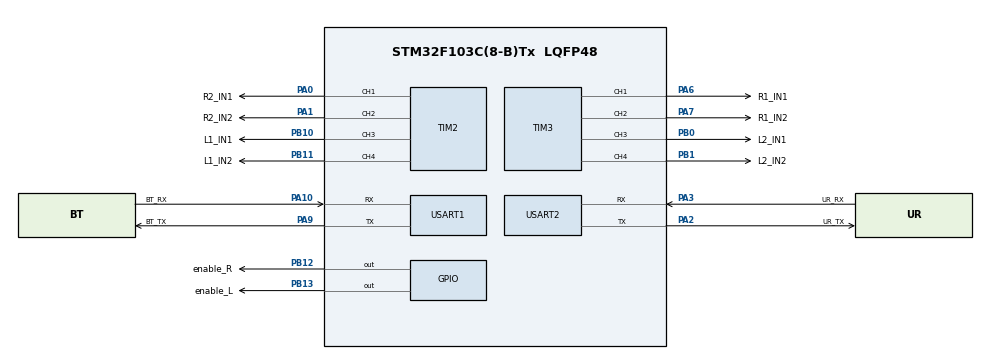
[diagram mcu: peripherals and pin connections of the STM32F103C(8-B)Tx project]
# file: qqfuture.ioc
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Mcu.Family=STM32F1
Mcu.Name=STM32F103C(8-B)Tx
Mcu.Package=LQFP48
NVIC.PriorityGroup=NVIC_PRIORITYGROUP_4
PA0-WKUP.GPIO_Label=R2_IN1
PA0-WKUP.Signal=S_TIM2_CH1_ETR
PA1.GPIO_Label=R2_IN2
PA1.Signal=S_TIM2_CH2
PA10.GPIO_Label=BT_RX
PA10.Mode=Asynchronous
PA10.Signal=USART1_RX
PA13.Mode=Serial_Wire
PA13.Signal=SYS_JTMS-SWDIO
PA14.Mode=Serial_Wire
PA14.Signal=SYS_JTCK-SWCLK
PA2.GPIO_Label=UR_TX
PA2.Mode=Asynchronous
PA2.Signal=USART2_TX
PA3.GPIO_Label=UR_RX
PA3.Mode=Asynchronous
PA3.Signal=USART2_RX
PA6.GPIO_Label=R1_IN1
PA6.Signal=S_TIM3_CH1
PA7.GPIO_Label=R1_IN2
PA7.Signal=S_TIM3_CH2
PA9.GPIO_Label=BT_TX
PA9.Mode=Asynchronous
PA9.Signal=USART1_TX
PB0.GPIO_Label=L2_IN1
PB0.Signal=S_TIM3_CH3
PB1.GPIO_Label=L2_IN2
PB1.Signal=S_TIM3_CH4
PB10.GPIO_Label=L1_IN1
PB10.Signal=S_TIM2_CH3
PB11.GPIO_Label=L1_IN2
PB11.Signal=S_TIM2_CH4
PB12.GPIO_Label=enable_R
PB12.Signal=GPIO_Output
PB13.GPIO_Label=enable_L
PB13.Signal=GPIO_Output
PD0-OSC_IN.Mode=HSE-External-Oscillator
PD0-OSC_IN.Signal=RCC_OSC_IN
PD1-OSC_OUT.Mode=HSE-External-Oscillator
PD1-OSC_OUT.Signal=RCC_OSC_OUT
ProjectManager.HeapSize=0x200
ProjectManager.StackSize=0x400
ProjectManager.TargetToolchain=MDK-ARM V5.32
RCC.APB1Freq_Value=8000000
RCC.APB2Freq_Value=8000000
RealThread.RT-Thread.3.1.5.RTOSJjkernel=true
RealThread.RT-Thread.3.1.5.RTOSJjshell=true
SH.S_TIM2_CH1_ETR.0=TIM2_CH1,PWM Generation1 CH1
SH.S_TIM2_CH2.0=TIM2_CH2,PWM Generation2 CH2
SH.S_TIM2_CH3.0=TIM2_CH3,PWM Generation3 CH3
SH.S_TIM2_CH4.0=TIM2_CH4,PWM Generation4 CH4
SH.S_TIM3_CH1.0=TIM3_CH1,PWM Generation1 CH1
SH.S_TIM3_CH2.0=TIM3_CH2,PWM Generation2 CH2
SH.S_TIM3_CH3.0=TIM3_CH3,PWM Generation3 CH3
SH.S_TIM3_CH4.0=TIM3_CH4,PWM Generation4 CH4
TIM2.Channel-PWM\ Generation1\ CH1=TIM_CHANNEL_1
TIM2.Channel-PWM\ Generation2\ CH2=TIM_CHANNEL_2
TIM2.Channel-PWM\ Generation3\ CH3=TIM_CHANNEL_3
TIM2.Channel-PWM\ Generation4\ CH4=TIM_CHANNEL_4
TIM3.Channel-PWM\ Generation1\ CH1=TIM_CHANNEL_1
TIM3.Channel-PWM\ Generation2\ CH2=TIM_CHANNEL_2
TIM3.Channel-PWM\ Generation3\ CH3=TIM_CHANNEL_3
TIM3.Channel-PWM\ Generation4\ CH4=TIM_CHANNEL_4
USART1.VirtualMode=VM_ASYNC
USART2.VirtualMode=VM_ASYNC
VP_RealThread.RT-Thread_VS_RTOSJjkernel_3.1.5_3.1.5.Mode=RTOSJjkernel
VP_RealThread.RT-Thread_VS_RTOSJjshell_3.1.5_3.1.5.Mode=RTOSJjshell
board=custom

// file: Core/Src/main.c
/* USER CODE BEGIN Header */
/**
  ******************************************************************************
  * @file           : main.c
  * @brief          : Main program body
  ******************************************************************************
  * @attention
  *
  * Copyright (c) 2024 STMicroelectronics.
  * All rights reserved.
  *
  * This software is licensed under terms that can be found in the LICENSE file
  * in the root directory of this software component.
  * If no LICENSE file comes with this software, it is provided AS-IS.
  *
  ******************************************************************************
  */
/* USER CODE END Header */
#include "main.h"
#include "tim.h"
#include "usart.h"
#include "gpio.h"
#include <rtthread.h>

/* USER CODE BEGIN PD */
	int base_speed=40;//100%?
	int low_speed=30;
	int correction_speed=50;
	int turning_speed=75;
	int turning_speed_low=10;
	int now_mode=0;
	char c;//?? #:??  *:??
char forward[]="Forward\n";//????
char stop[]="stop\n";//????
char tips[]="CommandError\n";//??1
int stop_flag=1;
	int route_flags[4]={0,0,0,0};
	int low_speed_flag=0;
/* USER CODE END PD */

void SystemClock_Config(void);

/* USER CODE BEGIN 0 */
void initial_speed(){
	base_speed=(base_speed*65535)/100;
	low_speed=(base_speed*65535)/100;
	correction_speed=(correction_speed*65535)/100;
	turning_speed=(turning_speed*65535)/100;
	turning_speed_low=(turning_speed_low*65535)/100;
}
/* USER CODE END 0 */

int main(void)
{

  /* MCU Configuration--------------------------------------------------------*/

  /* Reset of all peripherals, Initializes the Flash interface and the Systick. */
  HAL_Init();

  /* Configure the system clock */
  SystemClock_Config();

  /* Initialize all configured peripherals */
  MX_GPIO_Init();
  MX_TIM2_Init();
  MX_TIM3_Init();
  MX_USART1_UART_Init();
  MX_USART2_UART_Init();
  /* USER CODE BEGIN 2 */
	initial_speed();
	HAL_GPIO_WritePin(enable_L_GPIO_Port,enable_L_Pin,GPIO_PIN_SET);
	HAL_GPIO_WritePin(enable_R_GPIO_Port,enable_R_Pin,GPIO_PIN_SET);
	HAL_TIM_PWM_Start(&htim2,TIM_CHANNEL_1);
	HAL_TIM_PWM_Start(&htim2,TIM_CHANNEL_2);
	HAL_TIM_PWM_Start(&htim2,TIM_CHANNEL_3);
	HAL_TIM_PWM_Start(&htim2,TIM_CHANNEL_4);
	HAL_TIM_PWM_Start(&htim3,TIM_CHANNEL_1);
	HAL_TIM_PWM_Start(&htim3,TIM_CHANNEL_2);
	HAL_TIM_PWM_Start(&htim3,TIM_CHANNEL_3);
	HAL_TIM_PWM_Start(&htim3,TIM_CHANNEL_4);
  /* USER CODE END 2 */

  /* Infinite loop */
  while (1)
  {
rt_thread_mdelay(1000);

  }
}

void SystemClock_Config(void)
{
  RCC_OscInitTypeDef RCC_OscInitStruct = {0};
  RCC_ClkInitTypeDef RCC_ClkInitStruct = {0};

  /** Initializes the RCC Oscillators according to the specified parameters
  * in the RCC_OscInitTypeDef structure.
  */
  RCC_OscInitStruct.OscillatorType = RCC_OSCILLATORTYPE_HSI;
  RCC_OscInitStruct.HSIState = RCC_HSI_ON;
  RCC_OscInitStruct.HSICalibrationValue = RCC_HSICALIBRATION_DEFAULT;
  RCC_OscInitStruct.PLL.PLLState = RCC_PLL_NONE;
  if (HAL_RCC_OscConfig(&RCC_OscInitStruct) != HAL_OK)
  {
    Error_Handler();
  }

  /** Initializes the CPU, AHB and APB buses clocks
  */
  RCC_ClkInitStruct.ClockType = RCC_CLOCKTYPE_HCLK|RCC_CLOCKTYPE_SYSCLK
                              |RCC_CLOCKTYPE_PCLK1|RCC_CLOCKTYPE_PCLK2;
  RCC_ClkInitStruct.SYSCLKSource = RCC_SYSCLKSOURCE_HSI;
  RCC_ClkInitStruct.AHBCLKDivider = RCC_SYSCLK_DIV1;
  RCC_ClkInitStruct.APB1CLKDivider = RCC_HCLK_DIV1;
  RCC_ClkInitStruct.APB2CLKDivider = RCC_HCLK_DIV1;

  if (HAL_RCC_ClockConfig(&RCC_ClkInitStruct, FLASH_LATENCY_0) != HAL_OK)
  {
    Error_Handler();
  }
}

/* USER CODE BEGIN 4 */
void set_speed(int i,int speed,int dir){
	switch (i){
		case 1:{
			if (dir==0){
				__HAL_TIM_SET_COMPARE(&htim2,TIM_CHANNEL_3,speed);
				__HAL_TIM_SET_COMPARE(&htim2,TIM_CHANNEL_4,0);
			}else {
				__HAL_TIM_SET_COMPARE(&htim2,TIM_CHANNEL_4,speed);
				__HAL_TIM_SET_COMPARE(&htim2,TIM_CHANNEL_3,0);
			}
			break;
		}
		case 2:{
			if (dir==0){
				__HAL_TIM_SET_COMPARE(&htim3,TIM_CHANNEL_3,speed);
				__HAL_TIM_SET_COMPARE(&htim3,TIM_CHANNEL_4,0);
			}else {
				__HAL_TIM_SET_COMPARE(&htim3,TIM_CHANNEL_4,speed);
				__HAL_TIM_SET_COMPARE(&htim3,TIM_CHANNEL_3,0);
			}
			break;
		}
		case 3:{
			if (dir==0){
				__HAL_TIM_SET_COMPARE(&htim3,TIM_CHANNEL_1,speed);
				__HAL_TIM_SET_COMPARE(&htim3,TIM_CHANNEL_1,0);
			}else {
				__HAL_TIM_SET_COMPARE(&htim3,TIM_CHANNEL_2,speed);
				__HAL_TIM_SET_COMPARE(&htim3,TIM_CHANNEL_1,0);
			}
			break;
		}
		case 4:{
			if (dir==0){
				__HAL_TIM_SET_COMPARE(&htim2,TIM_CHANNEL_1,speed);
				__HAL_TIM_SET_COMPARE(&htim2,TIM_CHANNEL_2,0);
			}else {
				__HAL_TIM_SET_COMPARE(&htim2,TIM_CHANNEL_2,speed);
				__HAL_TIM_SET_COMPARE(&htim2,TIM_CHANNEL_1,0);
			}
			break;
		}

	}
}
/* USER CODE END 4 */

void Error_Handler(void)
{
  __disable_irq();
  while (1)
  {
  }
}
